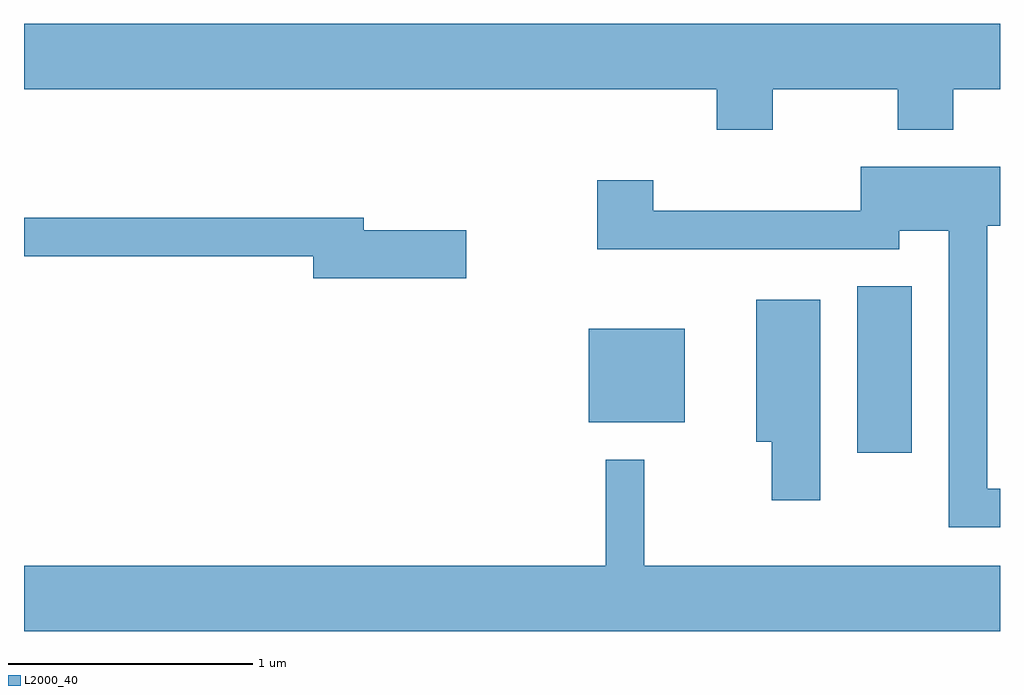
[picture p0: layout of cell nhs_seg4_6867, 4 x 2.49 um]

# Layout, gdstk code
import gdstk
lib = gdstk.Library(unit=1e-6, precision=1e-09)
def R(c, l, rs):  # rectangles x0, y0, x1, y1
    for r in rs: c.add(gdstk.rectangle(r[:2], r[2:], *l))
def P(c, l, *ps):  # polygons
    for p in ps: c.add(gdstk.Polygon(p, *l))
L2000_40 = (2000, 40)

nhs_seg4_6867 = lib.new_cell('nhs_seg4_6867')
R(nhs_seg4_6867, L2000_40, [(391.026,1257.726,391.249,1258.409), (389.926,1257.851,390.319,1258.234)])
P(nhs_seg4_6867, L2000_40, [(390.679,1259.216),(391.191,1259.216),(391.191,1259.051),(391.419,1259.051),(391.419,1259.216),(391.611,1259.216),(391.611,1259.484),(387.611,1259.484),(387.611,1259.216),(390.451,1259.216),(390.451,1259.051),(390.679,1259.051)],
  [(391.611,1257.579),(391.559,1257.579),(391.559,1258.656),(391.611,1258.656),(391.611,1258.899),(391.041,1258.899),(391.041,1258.719),(390.189,1258.719),(390.189,1258.844),(389.961,1258.844),(389.961,1258.561),(391.199,1258.561),(391.199,1258.636),(391.401,1258.636),(391.401,1257.421),(391.611,1257.421)],
  [(389.424,1258.639),(389.004,1258.639),(389.004,1258.689),(387.611,1258.689),(387.611,1258.531),(388.796,1258.531),(388.796,1258.441),(389.424,1258.441)],
  [(390.874,1258.354),(390.611,1258.354),(390.611,1257.771),(390.676,1257.771),(390.676,1257.531),(390.874,1257.531)],
  [(391.611,1257.264),(390.154,1257.264),(390.154,1257.698),(389.996,1257.698),(389.996,1257.264),(387.611,1257.264),(387.611,1256.996),(391.611,1256.996)])

lib.write_gds('nhs_seg4_6867.gds')
